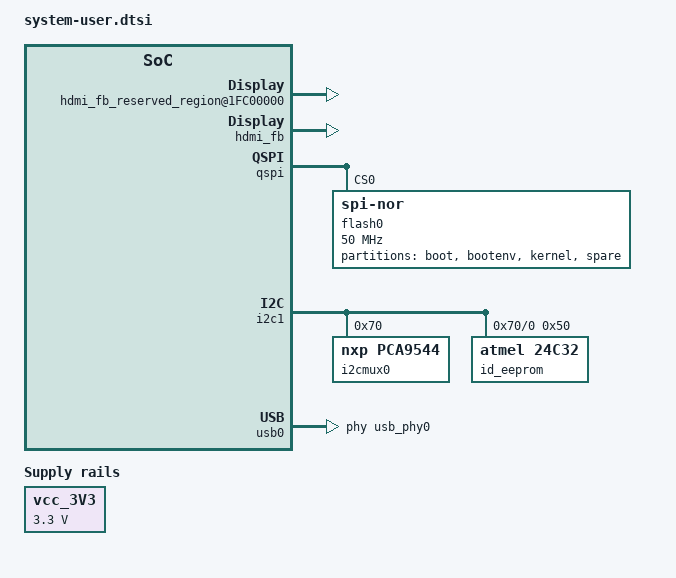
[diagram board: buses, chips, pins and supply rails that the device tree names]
/include/ "system-conf.dtsi"
/ {
};
 
 
/ {
    #address-cells = <1>;
    #size-cells = <1>;
 
    reserved-memory {
        #address-cells = <1>;
        #size-cells = <1>;
        ranges;
        hdmi_fb_reserved_region@1FC00000 {
            compatible = "removed-dma-pool";
            no-map;
            // 512M (M modules)
            reg = <0x1FC00000 0x400000>;
            // 128M (R modules)
            //reg = <0x7C00000 0x400000>;
        };
        camera_fb_reserved_region@1F800000 {
            compatible = "removed-dma-pool";
            no-map;
            // 512M (M modules)
            reg = <0x1F800000 0x400000>;
            // 128M (R modules)
            //reg = <0x7800000 0x400000>;
        };
 
    };
 
    hdmi_fb: framebuffer@0x1FC00000 {           // HDMI out
        compatible = "simple-framebuffer";
        // 512M (M modules)
        reg = <0x1FC00000 (1280 * 720 * 4)>;    // 720p
        // 128M (R modules)
        //reg = <0x7C00000 (1280 * 720 * 4)>;   // 720p
        width = <1280>;                         // 720p
        height = <720>;                         // 720p
        stride = <(1280 * 4)>;                  // 720p
        format = "a8b8g8r8";
        status = "okay";
    };
 
    camera_fb: framebuffer@0x1F800000 {         // CAMERA in
        compatible = "simple-framebuffer";
        // 512M (M modules)
        reg = <0x1F800000 (1280 * 720 * 4)>;    // 720p
        // 128M (R modules)
        //reg = <0x7800000 (1280 * 720 * 4)>;   // 720p
        width = <1280>;                         // 720p
        height = <720>;                         // 720p
        stride = <(1280 * 4)>;                  // 720p
        format = "a8b8g8r8";
    };
 
    vcc_3V3: fixedregulator@0 {
        compatible = "regulator-fixed";
        regulator-name = "vccaux-supply";
        regulator-min-microvolt = <3300000>;
        regulator-max-microvolt = <3300000>;
        regulator-always-on;
    };
};
 
&qspi {
    #address-cells = <1>;
    #size-cells = <0>;
    status = "okay";
    flash0: flash@0 {
        compatible = "jedec,spi-nor";
        reg = <0x0>;
        #address-cells = <1>;
        #size-cells = <1>;
        spi-max-frequency = <50000000>;
        partition@0x00000000 {
            label = "boot";
            reg = <0x00000000 0x00500000>;
        };
        partition@0x00500000 {
            label = "bootenv";
            reg = <0x00500000 0x00020000>;
        };
        partition@0x00520000 {
            label = "kernel";
            reg = <0x00520000 0x00a80000>;
        };
        partition@0x00fa0000 {
            label = "spare";
            reg = <0x00fa0000 0x00000000>;
        };
    };
};
 
/*
* We need to disable Linux VDMA driver as VDMA
* already configured in FSBL
*/
&video_in_axi_vdma_0 {
   status = "disabled";
};
 
&video_out_axi_vdma_0 {
   status = "disabled";
};
 
&video_out_v_tc_0 {
    //xilinx-vtc: probe of 43c20000.v_tc failed with error -2
    status = "disabled";
};
 
&gpio0 {
    interrupt-controller;
    #interrupt-cells = <2>;
};
 
&i2c1 {
    #address-cells = <1>;
    #size-cells = <0>;
 
    i2cmux0: i2cmux@70  {
        compatible = "nxp,pca9544";
        #address-cells = <1>;
        #size-cells = <0>;
        reg = <0x70>;
 
 
        i2c1@0 {
            #address-cells = <1>;
            #size-cells = <0>;
            reg = <0>;
 
            id_eeprom@50 {
                compatible = "atmel,24c32";
                reg = <0x50>;
            };
 
        };
        i2c1@1 {    // Display Interface Connector
            #address-cells = <1>;
            #size-cells = <0>;
            reg = <1>;
        };
        i2c1@2 {    // HDMI Interface Connector
            #address-cells = <1>;
            #size-cells = <0>;
            reg = <2>;
        };
        i2c1@3 {    // Camera Interface Connector
            #address-cells = <1>;
            #size-cells = <0>;
            reg = <3>;
        };
    };
 
};
 
/{
    usb_phy0: usb_phy@0 {
        compatible = "ulpi-phy";
        #phy-cells = <0>;
        reg = <0xe0002000 0x1000>;
        view-port = <0x0170>;
        drv-vbus;
    };
};
 
&usb0 {
    usb-phy = <&usb_phy0>;
} ;
 
/*
* Sound configuration
*/
 
/{
    // Custom driver based on spdif-transmitter
    te_audio: dummy_codec_te {
        compatible = "te,te-audio";
        #sound-dai-cells = <0>;
    };
 
    // Simple Audio Card from AXI_I2S and custom XADC audio input and
    // PWM audio output cores
    sound {
        compatible = "simple-audio-card";
        simple-audio-card,name = "TE0726-PWM-Audio";
        simple-audio-card,format = "i2s";
        simple-audio-card,widgets =
            "Microphone", "In Jack",
            "Line", "Line In Jack",
            "Line", "Line Out Jack",
            "Headphone", "Out Jack";
 
        simple-audio-card,routing =
            "Out Jack", "te-out",
            "te-in", "In Jack";
 
        simple-audio-card,cpu {
            sound-dai = <&audio_axi_i2s_adi_0>;
        };
        simple-audio-card,codec {
            sound-dai = <&te_audio>;
        };
    };
};
 
&audio_axi_i2s_adi_0 {
    compatible = "adi,axi-i2s-1.00.a";
    reg = <0x43c00000 0x1000>;
    clocks = <&clkc 15>, <&clkc 18>; // FCLK_CLK0, FCLK_CLK3
    clock-names = "axi", "ref";
    dmas = <&dmac_s 0 &dmac_s 1>;
    dma-names = "tx", "rx";
    #sound-dai-cells = <0>;
};
 
/*
* We need to disable Linux XADC driver to use XADC for audio recording
*/
&adc {
    status = "disabled";
};
